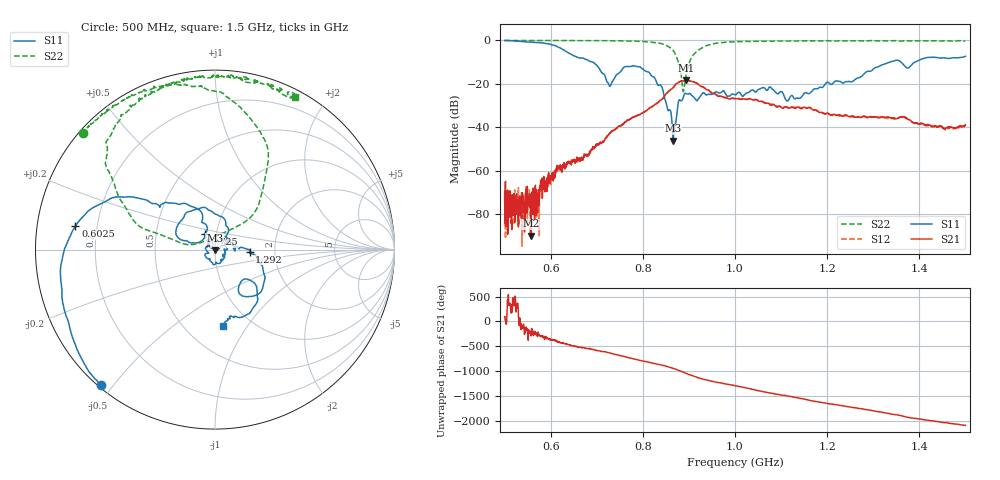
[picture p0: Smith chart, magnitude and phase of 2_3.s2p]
!Agilent Technologies,E8364B,US42250235,A.06.04.32
!Agilent E8364B: A.06.04.32
!Date: Friday, January 15, 2021 14:46:22
!Correction: S11(Full 2 Port(1,2)) S21(Full 2 Port(1,2)) S12(Full 2 Port(1,2)) S22(Full 2 Port(1,2))
!S2P File: Measurements: S11, S21, S12, S22:
# Hz S  dB  R 50
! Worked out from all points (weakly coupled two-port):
!   1601 points, 500 MHz to 1.5 GHz, reference 50 ohm
!   highest |S21| = -18.51 dB at 894.4 MHz (marker M1); lowest = -89.9 dB at 556.9 MHz (marker M2)
!   lowest |S11| = -46.2 dB at 865.6 MHz (marker M3), VSWR 1.01, Z = 49.9 - j0.478 ohm
!   |S11| at or under -10 dB: 690 MHz to 1.337 GHz (647 MHz wide, 63.8 % of centre); 1.36 GHz to 1.391 GHz (31.45 MHz wide, 2.29 % of centre)
!   |S22| runs from -23.7 to -0.1 dB; largest |S21 - S12| = 0.0039
!   S11 on the Smith chart (normalised r, x): 500 MHz: 0.01, -0.47; 602.5 MHz: 0.12, +0.08; 725 MHz: 0.88, +0.15; 1.292 GHz: 1.48, -0.03; 1.5 GHz: 0.75, -0.78
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5e8  -0.12 -130.0  -69.62 92.1  -85.25 -87.9  -0.15 138.5
5.18125e8  -0.29 -138.8  -74.47 114.7  -75.58 65.5  -0.14 136.1
5.56875e8  -0.86 -157.7  -89.87 130.3  -71.44 -152.9  -0.17 133.2
5.7e8  -1.10 -165.4  -72.19 85.4  -70.44 101.5  -0.18 131.8
5.8125e8  -1.22 -172.5  -63.37 72.9  -65.87 74.2  -0.16 130.7
6.025e8  -2.06 170.4  -61.06 -16.0  -62.23 -3.0  -0.19 128.9
6.66875e8  -8.14 141.4  -54.41 -165.0  -55.07 -165.4  -0.20 121.7
6.98125e8  -11.19 119.0  -48.70 144.0  -48.53 141.1  -0.20 118.3
7.25e8  -19.76 123.3  -43.61 94.1  -43.69 92.2  -0.27 114.1
7.80625e8  -11.73 125.7  -35.24 -36.1  -35.41 -37.2  -0.45 103.3
8.3375e8  -20.83 51.7  -28.55 -143.4  -28.54 -143.8  -1.28 86.3
8.65625e8  -46.24 -100.8  -21.89 136.9  -21.90 137.6  -4.67 59.6
8.86875e8  -26.79 146.1  -18.73 59.5  -18.76 60.1  -22.84 88.1
8.94375e8  -24.53 109.2  -18.51 34.6  -18.54 35.4  -15.55 169.7
9.225e8  -26.43 81.2  -20.69 -58.7  -20.65 -57.0  -4.29 151.4
1e9  -25.08 -16.4  -26.92 148.9  -26.75 149.5  -0.69 120.6
1.0775e9  -21.64 -97.7  -29.96 -1.5  -29.34 -0.9  -0.43 108.2
1.11375e9  -28.02 -152.3  -30.93 -60.4  -30.97 -58.1  -0.36 104.5
1.166875e9  -23.48 60.6  -31.58 -157.4  -31.55 -153.7  -0.33 97.6
1.291875e9  -14.31 -3.2  -35.17 17.6  -35.55 18.2  -0.23 84.2
1.33375e9  -10.21 -27.0  -35.44 -51.4  -35.79 -50.5  -0.31 79.5
1.5e9  -7.41 -83.9  -39.08 69.2  -39.70 69.5  -0.37 62.4
